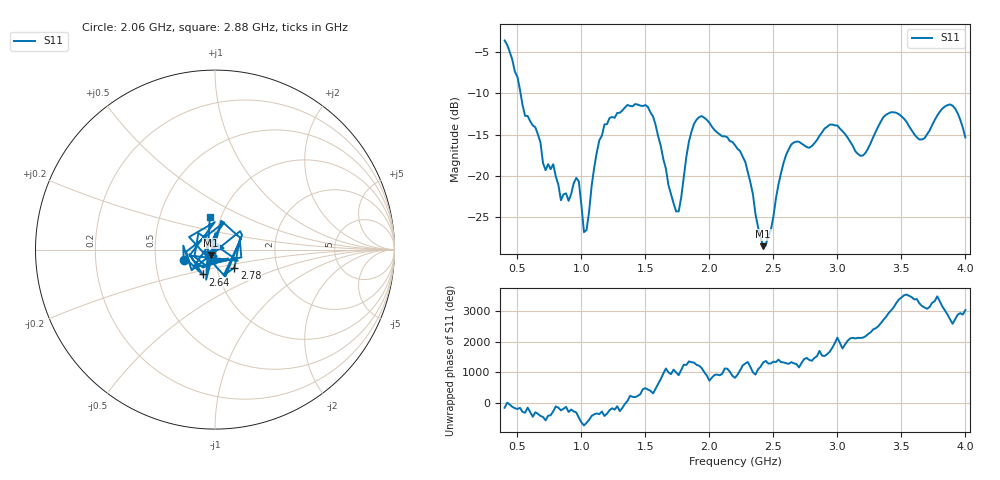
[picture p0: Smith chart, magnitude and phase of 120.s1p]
!Created with skrf (http://scikit-rf.org).
# Hz S RI R 50.0
!freq ReS11 ImS11
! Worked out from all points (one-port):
!   181 points, 400 MHz to 4 GHz, reference 50 ohm
!   lowest |S11| = -28.6 dB at 2.42 GHz (marker M1), VSWR 1.08, Z = 47.7 - j2.87 ohm
!   |S11| at or under -10 dB: 524.7 MHz to end of sweep
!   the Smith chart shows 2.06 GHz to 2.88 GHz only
!   S11 on the Smith chart (normalised r, x): 2.06 GHz: 0.70, -0.08; 2.64 GHz: 0.84, -0.24; 2.78 GHz: 1.22, -0.25; 2.88 GHz: 0.89, +0.33
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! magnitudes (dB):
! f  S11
! 400 MHz  -3.6
! 720 MHz  -19.3
! 780 MHz  -18.6
! 840 MHz  -23.0
! 860 MHz  -22.3
! 980 MHz  -20.7
! 1.02 GHz  -26.9
! 1.04 GHz  -26.6
! 1.14 GHz  -15.7
! 1.3 GHz  -12.4
! 1.52 GHz  -11.7
! 1.76 GHz  -24.3
! 1.88 GHz  -13.7
! 2.06 GHz  -14.7
! 2.2 GHz  -16.3
! 2.28 GHz  -18.3
! 2.42 GHz  -28.6
! 2.64 GHz  -16.2
! 2.66 GHz  -16.0
! 2.78 GHz  -16.6
! 2.88 GHz  -14.7
! 3.1 GHz  -15.9
! 3.2 GHz  -17.5
! 3.42 GHz  -12.3
! 3.56 GHz  -14.0
! 3.68 GHz  -15.5
! 3.88 GHz  -11.4
! 4 GHz  -15.4
